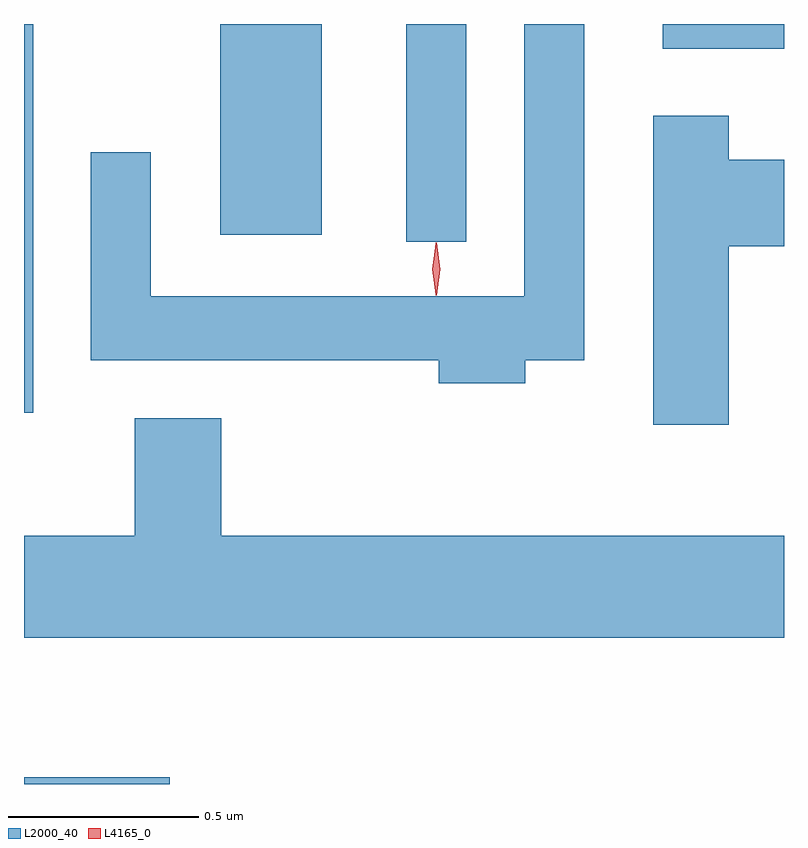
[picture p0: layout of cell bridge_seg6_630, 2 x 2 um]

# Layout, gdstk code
import gdstk
lib = gdstk.Library(unit=1e-6, precision=1e-09)
def R(c, l, rs):  # rectangles x0, y0, x1, y1
    for r in rs: c.add(gdstk.rectangle(r[:2], r[2:], *l))
def P(c, l, *ps):  # polygons
    for p in ps: c.add(gdstk.Polygon(p, *l))
L2000_40 = (2000, 40)
L4165_0 = (4165, 0)

bridge_seg6_630 = lib.new_cell('bridge_seg6_630')
R(bridge_seg6_630, L2000_40, [(539.24,1622.911,539.624,1622.929), (539.24,1623.888,539.264,1624.911), (540.246,1624.338,540.404,1624.911), (539.756,1624.356,540.024,1624.911), (540.921,1624.846,541.24,1624.911)])
P(bridge_seg6_630, L2000_40, [(540.559,1624.026),(540.714,1624.026),(540.714,1624.911),(540.556,1624.911),(540.556,1624.194),(539.574,1624.194),(539.574,1624.573),(539.416,1624.573),(539.416,1624.026),(540.331,1624.026),(540.331,1623.966),(540.559,1623.966)],
  [(541.094,1624.326),(541.24,1624.326),(541.24,1624.554),(541.094,1624.554),(541.094,1624.669),(540.896,1624.669),(540.896,1623.856),(541.094,1623.856)],
  [(541.24,1623.564),(539.759,1623.564),(539.759,1623.874),(539.531,1623.874),(539.531,1623.564),(539.24,1623.564),(539.24,1623.296),(541.24,1623.296)])
P(bridge_seg6_630, L4165_0, [(540.324,1624.197),(540.315,1624.266),(540.324,1624.336),(540.325,1624.336),(540.326,1624.336),(540.335,1624.266),(540.326,1624.197),(540.325,1624.197)],
  [(540.324,1624.199),(540.324,1624.2),(540.314,1624.266),(540.324,1624.332),(540.324,1624.333),(540.325,1624.332),(540.334,1624.266),(540.325,1624.2)])

lib.write_gds('bridge_seg6_630.gds')
